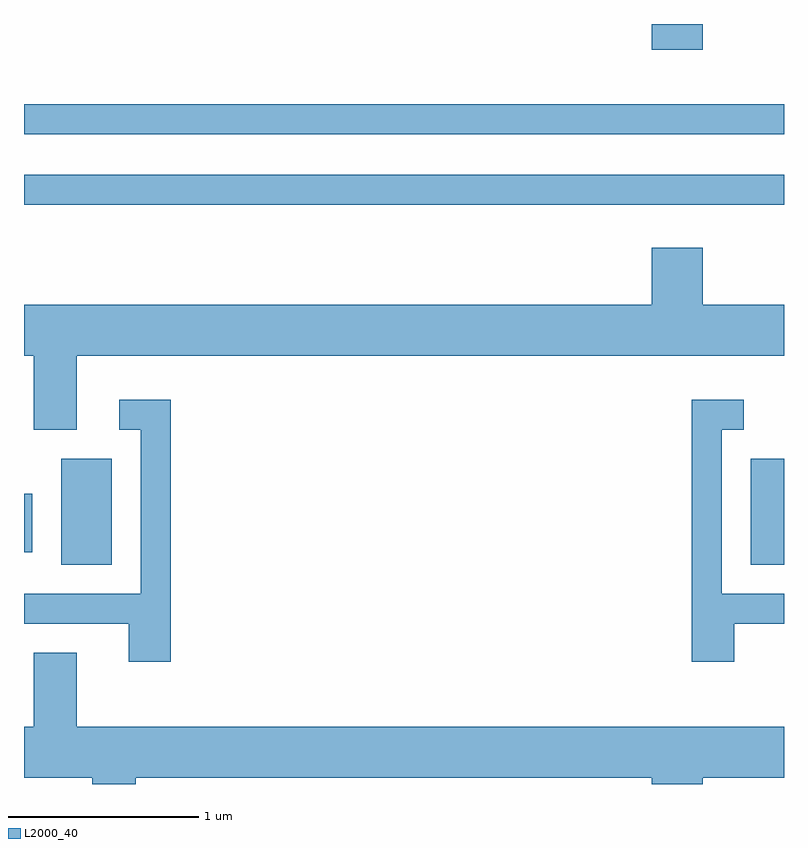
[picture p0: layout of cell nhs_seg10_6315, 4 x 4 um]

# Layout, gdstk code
import gdstk
lib = gdstk.Library(unit=1e-6, precision=1e-09)
def R(c, l, rs):  # rectangles x0, y0, x1, y1
    for r in rs: c.add(gdstk.rectangle(r[:2], r[2:], *l))
def P(c, l, *ps):  # polygons
    for p in ps: c.add(gdstk.Polygon(p, *l))
L2000_40 = (2000, 40)

nhs_seg10_6315 = lib.new_cell('nhs_seg10_6315')
R(nhs_seg10_6315, L2000_40, [(371.806,2141.676,372.074,2142.234), (375.436,2141.676,375.611,2142.234), (371.611,2141.741,371.654,2142.049), (371.611,2143.571,375.611,2143.729), (371.611,2143.941,375.611,2144.099), (374.916,2144.386,375.184,2144.522)])
P(nhs_seg10_6315, L2000_40, [(371.889,2142.776),(375.611,2142.776),(375.611,2143.044),(375.184,2143.044),(375.184,2143.344),(374.916,2143.344),(374.916,2143.044),(371.611,2143.044),(371.611,2142.776),(371.661,2142.776),(371.661,2142.386),(371.889,2142.386)],
  [(372.384,2142.544),(372.113,2142.544),(372.113,2142.386),(372.226,2142.386),(372.226,2141.524),(371.611,2141.524),(371.611,2141.366),(372.161,2141.366),(372.161,2141.166),(372.384,2141.166)],
  [(375.349,2141.366),(375.611,2141.366),(375.611,2141.524),(375.284,2141.524),(375.284,2142.386),(375.398,2142.386),(375.398,2142.544),(375.126,2142.544),(375.126,2141.166),(375.349,2141.166)],
  [(372.199,2140.556),(374.916,2140.556),(374.916,2140.522),(375.184,2140.522),(375.184,2140.556),(375.611,2140.556),(375.611,2140.824),(371.889,2140.824),(371.889,2141.214),(371.661,2141.214),(371.661,2140.824),(371.611,2140.824),(371.611,2140.556),(371.971,2140.556),(371.971,2140.522),(372.199,2140.522)])

lib.write_gds('nhs_seg10_6315.gds')
